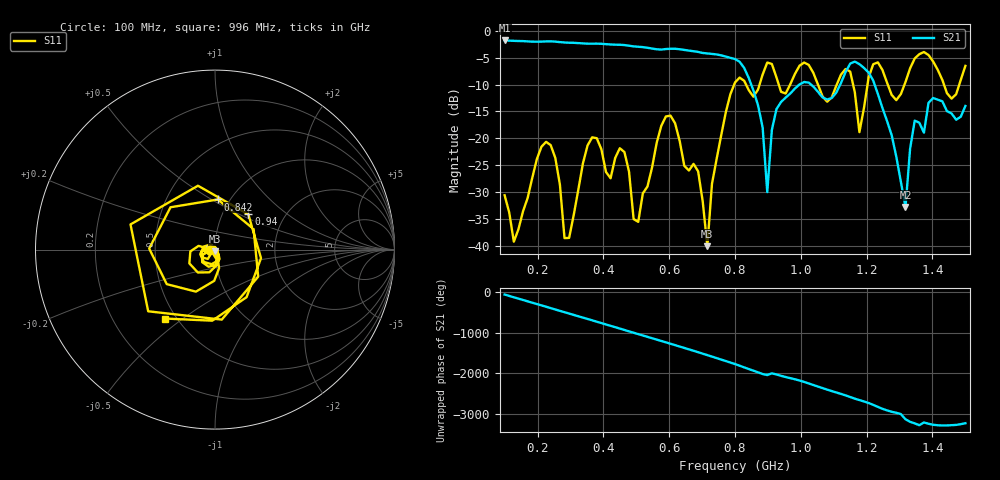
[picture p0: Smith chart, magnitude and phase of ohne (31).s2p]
! NanoVNA-App
! Date: 2025-09-26 09:55:38
! Start: 100MHz Stop: 1,5GHz Points: 101
! S-Parameter data: F S11 S21 S12 S22
# Hz S RI R 50
!  Frequency  S11_Real  S11_Imag  S21_Real  S21_Imag  S12_Real  S12_Imag  S22_Real  S22_Imag
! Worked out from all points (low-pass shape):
!   101 points, 100 MHz to 1.5 GHz, reference 50 ohm
!   highest |S21| = -1.79 dB at 100 MHz (marker M1); lowest = -32.8 dB at 1.318 GHz (marker M2)
!   |S21| within 3 dB of the highest: start of sweep to 771.7 MHz
!   lowest |S11| = -40.1 dB at 716 MHz (marker M3), VSWR 1.02, Z = 49.9 - j0.974 ohm
!   |S11| at or under -10 dB: start of sweep to 797.5 MHz; 833.5 MHz to 874.7 MHz (41.21 MHz wide, 4.82 % of centre); 1.052 GHz to 1.109 GHz (57.23 MHz wide, 5.3 % of centre) (the widest 3 of 7)
!   S12 and S22 are empty: the file has one direction only
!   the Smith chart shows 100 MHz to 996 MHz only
!   S11 on the Smith chart (normalised r, x): 100 MHz: 0.94, -0.01; 842 MHz: 0.88, +0.53; 940 MHz: 1.32, +0.56; 996 MHz: 0.44, -0.43
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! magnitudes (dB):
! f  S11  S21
! 100 MHz  -30.6  -1.8
! 128 MHz  -39.3  -1.9
! 226 MHz  -20.7  -2.0
! 296 MHz  -38.6  -2.2
! 338 MHz  -24.7  -2.3
! 464 MHz  -22.6  -2.7
! 506 MHz  -35.6  -3.0
! 576 MHz  -17.7  -3.5
! 688 MHz  -26.2  -3.9
! 716 MHz  -40.1  -4.2
! 800 MHz  -9.6  -5.3
! 842 MHz  -11.1  -8.8
! 898 MHz  -5.9  -30.0
! 940 MHz  -11.4  -13.3
! 996 MHz  -6.5  -10.0
! 1.038 GHz  -7.8  -10.4
! 1.178 GHz  -18.9  -6.2
! 1.22 GHz  -6.2  -9.3
! 1.276 GHz  -11.9  -19.4
! 1.318 GHz  -9.5  -32.8
! 1.346 GHz  -5.1  -16.7
! 1.5 GHz  -6.5  -14.0
